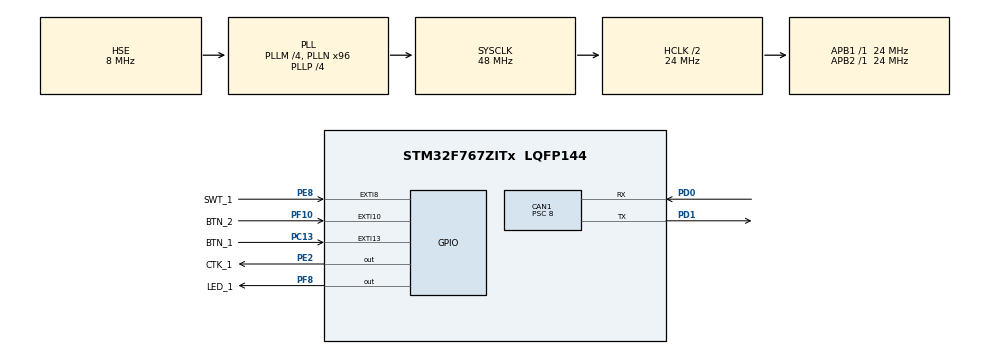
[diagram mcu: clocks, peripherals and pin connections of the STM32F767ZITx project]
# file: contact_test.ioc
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CAN1.BS1=CAN_BS1_2TQ
CAN1.BS2=CAN_BS2_3TQ
CAN1.CalculateBaudRate=500000
CAN1.CalculateTimeBit=2000
CAN1.CalculateTimeQuantum=333.3333333333333
CAN1.Prescaler=8
CAN1.SJW=CAN_SJW_2TQ
CORTEX_M7.default_mode_Activation=1
Mcu.Family=STM32F7
Mcu.Name=STM32F767ZITx
Mcu.Package=LQFP144
NVIC.EXTI15_10_IRQn=true\:0\:0\:false\:false\:true\:true\:true\:true
NVIC.EXTI9_5_IRQn=true\:0\:0\:false\:false\:true\:true\:true\:true
NVIC.PriorityGroup=NVIC_PRIORITYGROUP_4
PC13.GPIO_Label=BTN_1
PC13.GPIO_ModeDefaultEXTI=GPIO_MODE_IT_FALLING
PC13.GPIO_PuPd=GPIO_PULLUP
PC13.Signal=GPXTI13
PD0.GPIO_PuPd=GPIO_PULLUP
PD0.Mode=CAN_Activate
PD0.Signal=CAN1_RX
PD1.Mode=CAN_Activate
PD1.Signal=CAN1_TX
PE2.GPIO_Label=CTK_1
PE2.Signal=GPIO_Output
PE8.GPIO_Label=SWT_1
PE8.GPIO_ModeDefaultEXTI=GPIO_MODE_IT_RISING_FALLING
PE8.Signal=GPXTI8
PF10.GPIO_Label=BTN_2
PF10.GPIO_ModeDefaultEXTI=GPIO_MODE_IT_FALLING
PF10.GPIO_PuPd=GPIO_PULLUP
PF10.Signal=GPXTI10
PF8.GPIO_Label=LED_1
PF8.Signal=GPIO_Output
PH0/OSC_IN.Mode=HSE-External-Oscillator
PH0/OSC_IN.Signal=RCC_OSC_IN
PH1/OSC_OUT.Mode=HSE-External-Oscillator
PH1/OSC_OUT.Signal=RCC_OSC_OUT
ProjectManager.HeapSize=0x200
ProjectManager.StackSize=0x400
ProjectManager.TargetToolchain=STM32CubeIDE
RCC.AHBCLKDivider=RCC_SYSCLK_DIV2
RCC.AHBFreq_Value=24000000
RCC.APB1Freq_Value=24000000
RCC.APB1TimFreq_Value=24000000
RCC.APB2Freq_Value=24000000
RCC.APB2TimFreq_Value=24000000
RCC.CortexFreq_Value=24000000
RCC.HCLKFreq_Value=24000000
RCC.HSE_VALUE=8000000
RCC.HSI_VALUE=16000000
RCC.LSE_VALUE=32768
RCC.PLLM=4
RCC.PLLN=96
RCC.PLLP=RCC_PLLP_DIV4
RCC.PLLSourceVirtual=RCC_PLLSOURCE_HSE
RCC.SYSCLKFreq_VALUE=48000000
RCC.SYSCLKSource=RCC_SYSCLKSOURCE_PLLCLK
RCC.USBFreq_Value=96000000
RCC.VCOOutputFreq_Value=192000000
board=custom

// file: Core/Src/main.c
/* USER CODE BEGIN Header */
/**
  ******************************************************************************
  * @file           : main.c
  * @brief          : Main program body
  ******************************************************************************
  * @attention
  *
  * Copyright (c) 2024 STMicroelectronics.
  * All rights reserved.
  *
  * This software is licensed under terms that can be found in the LICENSE file
  * in the root directory of this software component.
  * If no LICENSE file comes with this software, it is provided AS-IS.
  *
  ******************************************************************************
  */
/* USER CODE END Header */
#include "main.h"

/* USER CODE BEGIN Includes */
#include <stdbool.h>
/* USER CODE END Includes */

CAN_HandleTypeDef hcan1;

/* USER CODE BEGIN PV */
uint32_t TxMailbox;
typedef union {
	struct {
		uint16_t ID;
		union {
			int32_t ival;
			float fval;
			bool bval;
		};
		uint16_t reserved;
	};
	uint8_t data[8];
} can_data_t;

can_data_t can_data = {
		.ID = 1,
		.bval = false
};

CAN_TxHeaderTypeDef TxHeader = {
		.DLC = 8,
		.RTR = CAN_RTR_DATA,
		.StdId = 0x103,
		.IDE = CAN_ID_STD
};

/* USER CODE END PV */

void SystemClock_Config(void);
static void MPU_Config(void);
static void MX_GPIO_Init(void);
static void MX_CAN1_Init(void);

/* USER CODE BEGIN 0 */
void HAL_GPIO_EXTI_Callback(uint16_t pin) {
//	if (pin == BTN_1_Pin) {
//		HAL_GPIO_WritePin(LED_1_GPIO_Port, LED_1_Pin, 1);
//		can_data.bval = true;
//		while (HAL_CAN_AddTxMessage(&hcan1, &TxHeader, can_data.data, &TxMailbox) != HAL_OK);
//	}
//	if (pin == BTN_2_Pin) {
//		HAL_GPIO_WritePin(LED_1_GPIO_Port, LED_1_Pin, 0);
//		can_data.bval = false;
//		while (HAL_CAN_AddTxMessage(&hcan1, &TxHeader, can_data.data, &TxMailbox) != HAL_OK);
//	}
	if (pin == SWT_1_Pin) {
		can_data.bval = HAL_GPIO_ReadPin(SWT_1_GPIO_Port, SWT_1_Pin);
	}
}
/* USER CODE END 0 */

int main(void)
{

  /* MPU Configuration--------------------------------------------------------*/
  MPU_Config();

  /* MCU Configuration--------------------------------------------------------*/

  /* Reset of all peripherals, Initializes the Flash interface and the Systick. */
  HAL_Init();

  /* Configure the system clock */
  SystemClock_Config();

  /* Initialize all configured peripherals */
  MX_GPIO_Init();
  MX_CAN1_Init();
  /* USER CODE BEGIN 2 */
  HAL_CAN_Start(&hcan1);
  /* USER CODE END 2 */

  /* Infinite loop */
  while (1)
  {
	  HAL_CAN_AddTxMessage(&hcan1, &TxHeader, can_data.data, &TxMailbox);
  }
}

void SystemClock_Config(void)
{
  RCC_OscInitTypeDef RCC_OscInitStruct = {0};
  RCC_ClkInitTypeDef RCC_ClkInitStruct = {0};

  /** Configure the main internal regulator output voltage
  */
  __HAL_RCC_PWR_CLK_ENABLE();
  __HAL_PWR_VOLTAGESCALING_CONFIG(PWR_REGULATOR_VOLTAGE_SCALE3);

  /** Initializes the RCC Oscillators according to the specified parameters
  * in the RCC_OscInitTypeDef structure.
  */
  RCC_OscInitStruct.OscillatorType = RCC_OSCILLATORTYPE_HSE;
  RCC_OscInitStruct.HSEState = RCC_HSE_ON;
  RCC_OscInitStruct.PLL.PLLState = RCC_PLL_ON;
  RCC_OscInitStruct.PLL.PLLSource = RCC_PLLSOURCE_HSE;
  RCC_OscInitStruct.PLL.PLLM = 4;
  RCC_OscInitStruct.PLL.PLLN = 96;
  RCC_OscInitStruct.PLL.PLLP = RCC_PLLP_DIV4;
  RCC_OscInitStruct.PLL.PLLQ = 2;
  RCC_OscInitStruct.PLL.PLLR = 2;
  if (HAL_RCC_OscConfig(&RCC_OscInitStruct) != HAL_OK)
  {
    Error_Handler();
  }

  /** Initializes the CPU, AHB and APB buses clocks
  */
  RCC_ClkInitStruct.ClockType = RCC_CLOCKTYPE_HCLK|RCC_CLOCKTYPE_SYSCLK
                              |RCC_CLOCKTYPE_PCLK1|RCC_CLOCKTYPE_PCLK2;
  RCC_ClkInitStruct.SYSCLKSource = RCC_SYSCLKSOURCE_PLLCLK;
  RCC_ClkInitStruct.AHBCLKDivider = RCC_SYSCLK_DIV2;
  RCC_ClkInitStruct.APB1CLKDivider = RCC_HCLK_DIV1;
  RCC_ClkInitStruct.APB2CLKDivider = RCC_HCLK_DIV1;

  if (HAL_RCC_ClockConfig(&RCC_ClkInitStruct, FLASH_LATENCY_0) != HAL_OK)
  {
    Error_Handler();
  }
}

static void MX_CAN1_Init(void)
{

  hcan1.Instance = CAN1;
  hcan1.Init.Prescaler = 8;
  hcan1.Init.Mode = CAN_MODE_NORMAL;
  hcan1.Init.SyncJumpWidth = CAN_SJW_2TQ;
  hcan1.Init.TimeSeg1 = CAN_BS1_2TQ;
  hcan1.Init.TimeSeg2 = CAN_BS2_3TQ;
  hcan1.Init.TimeTriggeredMode = DISABLE;
  hcan1.Init.AutoBusOff = DISABLE;
  hcan1.Init.AutoWakeUp = DISABLE;
  hcan1.Init.AutoRetransmission = DISABLE;
  hcan1.Init.ReceiveFifoLocked = DISABLE;
  hcan1.Init.TransmitFifoPriority = DISABLE;
  if (HAL_CAN_Init(&hcan1) != HAL_OK)
  {
    Error_Handler();
  }

}

static void MX_GPIO_Init(void)
{
  GPIO_InitTypeDef GPIO_InitStruct = {0};

  /* GPIO Ports Clock Enable */
  __HAL_RCC_GPIOE_CLK_ENABLE();
  __HAL_RCC_GPIOC_CLK_ENABLE();
  __HAL_RCC_GPIOF_CLK_ENABLE();
  __HAL_RCC_GPIOH_CLK_ENABLE();
  __HAL_RCC_GPIOD_CLK_ENABLE();

  /*Configure GPIO pin Output Level */
  HAL_GPIO_WritePin(CTK_1_GPIO_Port, CTK_1_Pin, GPIO_PIN_RESET);

  /*Configure GPIO pin Output Level */
  HAL_GPIO_WritePin(LED_1_GPIO_Port, LED_1_Pin, GPIO_PIN_RESET);

  /*Configure GPIO pin : CTK_1_Pin */
  GPIO_InitStruct.Pin = CTK_1_Pin;
  GPIO_InitStruct.Mode = GPIO_MODE_OUTPUT_PP;
  GPIO_InitStruct.Pull = GPIO_NOPULL;
  GPIO_InitStruct.Speed = GPIO_SPEED_FREQ_LOW;
  HAL_GPIO_Init(CTK_1_GPIO_Port, &GPIO_InitStruct);

  /*Configure GPIO pin : BTN_1_Pin */
  GPIO_InitStruct.Pin = BTN_1_Pin;
  GPIO_InitStruct.Mode = GPIO_MODE_IT_FALLING;
  GPIO_InitStruct.Pull = GPIO_PULLUP;
  HAL_GPIO_Init(BTN_1_GPIO_Port, &GPIO_InitStruct);

  /*Configure GPIO pin : LED_1_Pin */
  GPIO_InitStruct.Pin = LED_1_Pin;
  GPIO_InitStruct.Mode = GPIO_MODE_OUTPUT_PP;
  GPIO_InitStruct.Pull = GPIO_NOPULL;
  GPIO_InitStruct.Speed = GPIO_SPEED_FREQ_LOW;
  HAL_GPIO_Init(LED_1_GPIO_Port, &GPIO_InitStruct);

  /*Configure GPIO pin : BTN_2_Pin */
  GPIO_InitStruct.Pin = BTN_2_Pin;
  GPIO_InitStruct.Mode = GPIO_MODE_IT_FALLING;
  GPIO_InitStruct.Pull = GPIO_PULLUP;
  HAL_GPIO_Init(BTN_2_GPIO_Port, &GPIO_InitStruct);

  /*Configure GPIO pin : SWT_1_Pin */
  GPIO_InitStruct.Pin = SWT_1_Pin;
  GPIO_InitStruct.Mode = GPIO_MODE_IT_RISING_FALLING;
  GPIO_InitStruct.Pull = GPIO_NOPULL;
  HAL_GPIO_Init(SWT_1_GPIO_Port, &GPIO_InitStruct);

  /* EXTI interrupt init*/
  HAL_NVIC_SetPriority(EXTI9_5_IRQn, 0, 0);
  HAL_NVIC_EnableIRQ(EXTI9_5_IRQn);

  HAL_NVIC_SetPriority(EXTI15_10_IRQn, 0, 0);
  HAL_NVIC_EnableIRQ(EXTI15_10_IRQn);

}

 /* MPU Configuration */

void MPU_Config(void)
{
  MPU_Region_InitTypeDef MPU_InitStruct = {0};

  /* Disables the MPU */
  HAL_MPU_Disable();

  /** Initializes and configures the Region and the memory to be protected
  */
  MPU_InitStruct.Enable = MPU_REGION_ENABLE;
  MPU_InitStruct.Number = MPU_REGION_NUMBER0;
  MPU_InitStruct.BaseAddress = 0x0;
  MPU_InitStruct.Size = MPU_REGION_SIZE_4GB;
  MPU_InitStruct.SubRegionDisable = 0x87;
  MPU_InitStruct.TypeExtField = MPU_TEX_LEVEL0;
  MPU_InitStruct.AccessPermission = MPU_REGION_NO_ACCESS;
  MPU_InitStruct.DisableExec = MPU_INSTRUCTION_ACCESS_DISABLE;
  MPU_InitStruct.IsShareable = MPU_ACCESS_SHAREABLE;
  MPU_InitStruct.IsCacheable = MPU_ACCESS_NOT_CACHEABLE;
  MPU_InitStruct.IsBufferable = MPU_ACCESS_NOT_BUFFERABLE;

  HAL_MPU_ConfigRegion(&MPU_InitStruct);
  /* Enables the MPU */
  HAL_MPU_Enable(MPU_PRIVILEGED_DEFAULT);

}

void Error_Handler(void)
{
  __disable_irq();
  while (1)
  {
  }
}
